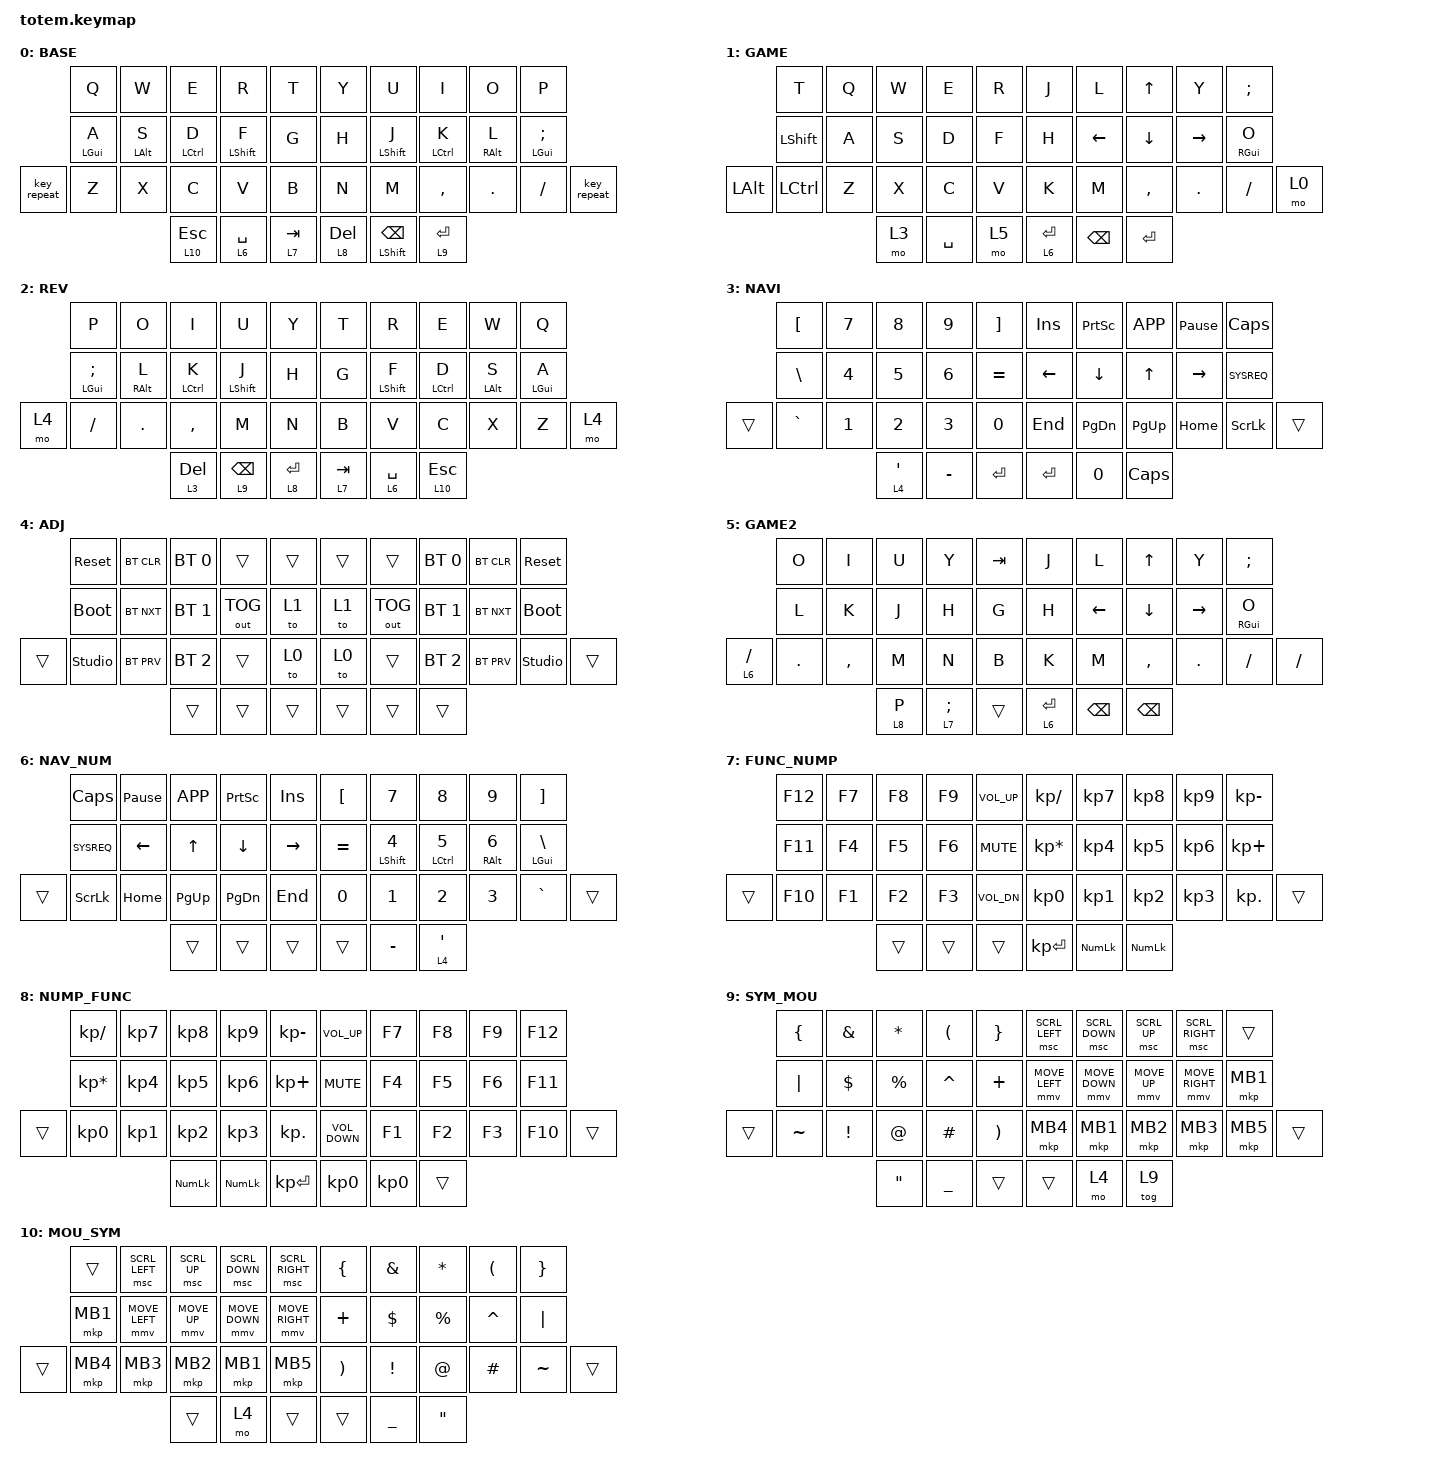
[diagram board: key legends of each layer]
//
//                                                        ▀▀▀▀▀     ▀▀▀▀▀          ▀▀█▀▀
//                                                        ▄▀▀▀▄  ▄  ▄▀▀▀▄  ▄  ▄▀▀▀▄  █  ▄▀▀▀▄
//                                                        █   █  █  █   █  █  █   █  █  █   █
//                                                         ▀▀▀   █   ▀▀▀   █   ▀▀▀   ▀   ▀▀▀
//                                                               █      ▄▄▄█▄▄▄    █   █  
//                                                               ▀      █  █  █     █▄█
//                                                             ▀▀▀▀▀    █  █  █      ▀
//                                                                      ▀  ▀  ▀
//
// ▄▄▄▄▄▄▄▄▄▄▄▄▄▄▄▄▄▄▄▄▄▄▄▄▄▄▄▄▄▄▄▄▄▄▄▄▄▄▄▄▄▄▄▄▄▄▄▄▄▄▄▄▄▄▄▄▄▄▄▄▄▄▄▄▄▄▄▄▄▄▄▄▄▄▄▄▄▄▄▄▄▄▄▄▄▄▄▄▄▄▄▄▄▄▄▄▄▄▄▄▄▄▄▄▄▄▄▄▄▄▄▄▄▄▄▄▄▄▄▄▄▄▄▄▄▄▄▄▄▄▄▄▄▄▄▄▄▄▄▄▄▄▄▄▄▄▄▄▄

#define ZMK_POINTING_DEFAULT_MOVE_VAL 2400  // default: 600
#define ZMK_POINTING_DEFAULT_SCRL_VAL 20    // default: 10

#include <behaviors.dtsi>
#include <dt-bindings/zmk/bt.h>
#include <dt-bindings/zmk/keys.h>
#include <dt-bindings/zmk/outputs.h>
#include <dt-bindings/zmk/pointing.h>

#define BASE 0
#define GAME 1
#define REV  2
#define NAVI 3
#define ADJ  4
#define GAM2 5
#define NUM  6
#define NUMP 7
#define FUNC 8

&mt {
    quick-tap-ms = <140>;
    global-quick-tap;
    flavor = "tap-preferred";
    tapping-term-ms = <170>;
};

/ {
    combos {
        compatible = "zmk,combos";

        //combo_esc {
        //    timeout-ms = <50>;
        //    key-positions = <0 1>;
        //    bindings = <&kp ESC>;
        //};

        combo_rshft {
            key-positions = <16 27>;
            bindings = <&sk RSHFT>;
            timeout-ms = <50>;
            layers = <0 2 3 4 6 7>;
        };

        combo_rctrl {
            key-positions = <17 28>;
            bindings = <&sk RCTRL>;
            timeout-ms = <50>;
            layers = <0 2 3 4 6 7>;
        };

        combo_ralt {
            key-positions = <18 29>;
            bindings = <&sk RALT>;
            timeout-ms = <50>;
            layers = <0 2 3 4 6 7>;
        };

        combo_rgui {
            key-positions = <19 30>;
            bindings = <&sk RGUI>;
            timeout-ms = <50>;
            layers = <0 2 3 4 6 7>;
        };

        combo_lshft {
            key-positions = <13 24>;
            bindings = <&sk LSHFT>;
            timeout-ms = <10>;
            layers = <0 2 3 4 6 7>;
        };

        combo_lctrl {
            key-positions = <12 23>;
            bindings = <&sk LCTRL>;
            timeout-ms = <10>;
            layers = <0 2 3 4 6 7>;
        };

        combo_lalt {
            key-positions = <11 22>;
            bindings = <&sk LALT>;
            timeout-ms = <10>;
            layers = <0 2 3 4 6 7>;
        };

        combo_lgui {
            key-positions = <10 21>;
            bindings = <&sk LGUI>;
            timeout-ms = <10>;
            layers = <0 2 3 4 6 7>;
        };

        //            combo_ldqt {
        //                key-positions = <11 12>;
        //                bindings = <&kp DQT>;
        //                timeout-ms = <25>;
        //                layers = <0 4 6 7>;
        //            };
        //            combo_rapos {
        //                key-positions = <17 18>;
        //                bindings = <&kp APOS>;
        //                timeout-ms = <25>;
        //                layers = <0 4 6 7>;
        //            };
        //            combo_rdqt {
        //                key-positions = <17 18>;
        //                bindings = <&kp DQT>;
        //		timeout-ms = <25>;
        //                layers = <2>;
        //            };
        //            combo_lapos {
        //                key-positions = <11 12>;
        //                bindings = <&kp APOS>;
        //                timeout-ms = <25>;
        //                layers = <2>;
        //            };
        //            combo_lunder {
        //                key-positions = <12 13>;
        //                bindings = <&kp UNDER>;
        //                timeout-ms = <25>;
        //                layers = <0 4 6 7>;
        //            };
        //            combo_rminus {
        //                key-positions = <16 17>;
        //                bindings = <&kp MINUS>;
        //                timeout-ms = <25>;
        //                layers = <0 4 6 7>;
        //            };
        //            combo_runder {
        //                key-positions = <16 17>;
        //                bindings = <&kp UNDER>;
        //		timeout-ms = <25>;
        //                layers = <2>;
        //            };
        //            combo_lminus {
        //                key-positions = <12 13>;
        //                bindings = <&kp MINUS>;
        //                timeout-ms = <25>;
        //                layers = <2>;
        //            };

        combo_lrbrc {
            key-positions = <1 2>;
            bindings = <&kp RBRC>;
            timeout-ms = <25>;
            layers = <2>;
        };

        combo_llbrc {
            key-positions = <1 2>;
            bindings = <&kp LBRC>;
            timeout-ms = <25>;
            layers = <0 4 6 7>;
        };

        combo_rlbrc {
            key-positions = <7 8>;
            bindings = <&kp LBRC>;
            timeout-ms = <25>;
            layers = <2>;
        };

        combo_rrbrc {
            key-positions = <7 8>;
            bindings = <&kp RBRC>;
            timeout-ms = <25>;
            layers = <0 4 6 7>;
        };

        combo_lrbkt {
            key-positions = <0 1>;
            bindings = <&kp RBKT>;
            timeout-ms = <25>;
            layers = <2>;
        };

        combo_llbkt {
            key-positions = <0 1>;
            bindings = <&kp LBKT>;
            timeout-ms = <25>;
            layers = <0 4 6 7>;
        };

        combo_rlbkt {
            key-positions = <8 9>;
            bindings = <&kp LBKT>;
            timeout-ms = <25>;
            layers = <2>;
        };

        combo_rrbkt {
            key-positions = <8 9>;
            bindings = <&kp RBKT>;
            timeout-ms = <25>;
            layers = <0 4 6 7>;
        };

        combo_lrpar {
            key-positions = <2 3>;
            bindings = <&kp RPAR>;
            timeout-ms = <25>;
            layers = <2>;
        };

        combo_llpar {
            key-positions = <2 3>;
            bindings = <&kp LPAR>;
            timeout-ms = <25>;
            layers = <0 4 6 7>;
        };

        combo_rlpar {
            key-positions = <6 7>;
            bindings = <&kp LPAR>;
            timeout-ms = <25>;
            layers = <2>;
        };

        combo_rrpar {
            key-positions = <6 7>;
            bindings = <&kp RPAR>;
            timeout-ms = <25>;
            layers = <0 4 6 7>;
        };

        combo_gam2esc {
            key-positions = <0 1>;
            bindings = <&kp ESC>;
            timeout-ms = <50>;
            layers = <5>;
        };

        combo_caps {
            key-positions = <22 23 24>;
            bindings = <&kp CAPS>;
            timeout-ms = <50>;
            layers = <0 4 6 7>;
        };

        combo_apos {
            key-positions = <27 28 29>;
            bindings = <&kp APOS>;
            timeout-ms = <50>;
            layers = <0 4 6 7>;
        };

        combo_capsrev {
            key-positions = <27 28 29>;
            bindings = <&kp CAPS>;
            timeout-ms = <50>;
            layers = <2>;
        };

        combo_aposrev {
            key-positions = <22 23 24>;
            bindings = <&kp APOS>;
            timeout-ms = <50>;
            layers = <2>;
        };

        combo_lfunclayer {
            key-positions = <33 34>;
            bindings = <&sl 9>;
            timeout-ms = <50>;
            layers = <0 2 3 4 6 7>;
        };

        combo_rfunclayer {
            key-positions = <35 36>;
            bindings = <&sl 9>;
            timeout-ms = <50>;
            layers = <0 1 2 3 4 6 7>;
        };

        combo_lrevlayer {
            key-positions = <32 33>;
            bindings = <&sl 2>;
            timeout-ms = <50>;
            layers = <0 3 4 6 7>;
        };

        combo_rrevlayer {
            key-positions = <36 37>;
            bindings = <&sl 2>;
            timeout-ms = <50>;
            layers = <0 3 4 6 7>;
        };

        game_b {
            bindings = <&kp B>;
            key-positions = <25 14>;
            timeout-ms = <5>;
            slow-release;
            layers = <1>;
        };

        game_g {
            bindings = <&kp G>;
            key-positions = <14 4>;
            timeout-ms = <5>;
            slow-release;
            layers = <1>;
        };

        //combo_gamealt {
        //    key-positions = <33 34>;
        //    bindings = <&kp LALT>;
        //    timeout-ms = <50>;
        //    layers = <1 5>;
        //};
    };

    macros {
        gif: gif {
            label = "giphy";
            compatible = "zmk,behavior-macro";
            #binding-cells = <0>;
            bindings =
                <&macro_press>,
                <&kp LSHFT>,
                <&macro_tap>,
                <&kp N2>,
                <&macro_release>,
                <&kp LSHFT>,
                <&macro_tap>,
                <&kp G &kp I &kp F>;
        };
    };

    behaviors {
        hp: hp {
            compatible = "zmk,behavior-hold-tap";
            label = "Hold-preferred";
            bindings = <&kp>, <&kp>;

            #binding-cells = <2>;
            tapping-term-ms = <150>;
        };

        tp: tp {
            compatible = "zmk,behavior-hold-tap";
            label = "Tap-preferred";
            bindings = <&kp>, <&kp>;

            #binding-cells = <2>;
            flavor = "tap-preferred";
            tapping-term-ms = <300>;
        };
    };

    keymap {
        compatible = "zmk,keymap";

        // ▄▄▄▄▄▄▄▄▄▄▄▄▄▄▄▄▄▄▄▄▄▄▄▄▄▄▄▄▄▄▄▄▄▄▄▄▄▄▄▄▄▄▄▄▄▄▄▄▄▄▄▄▄▄▄▄▄▄▄▄▄▄▄▄▄▄▄▄▄▄▄▄▄▄▄▄▄▄▄▄▄▄▄▄▄▄▄▄▄▄▄▄▄▄▄▄▄▄▄▄▄▄▄▄▄▄▄▄▄▄▄▄▄▄▄▄▄▄▄▄▄▄▄▄▄▄▄▄▄▄▄▄▄▄▄▄▄▄▄▄▄▄▄▄▄▄▄▄▄

        base_layer {
            // ┏━━━━━━━━━━━━━━━━━━━━━━━━━━━━━━━━━━━━━━━┓

            label = "BASE";

            // ┗━━━━━━━━━━━━━━━━━━━━━━━━━━━━━━━━━━━━━━━┛
            //             ┏━━━━━━━━━━━┳━━━━━━━━━━━┳━━━━━━━━━━━┳━━━━━━━━━━━┳━━━━━━━━━━━┓   ┏━━━━━━━━━━━┳━━━━━━━━━━━┳━━━━━━━━━━━┳━━━━━━━━━━━┳━━━━━━━━━━━┓
            //             ┃     Q     ┃     W     ┃     F     ┃     P     ┃     G     ┃   ┃     J     ┃     L     ┃     U     ┃     Y     ┃     ;     ┃
            //             ┣━━━━━━━━━━━╋━━━━━━━━━━━╋━━━━━━━━━━━╋━━━━━━━━━━━╋━━━━━━━━━━━┫   ┣━━━━━━━━━━━╋━━━━━━━━━━━╋━━━━━━━━━━━╋━━━━━━━━━━━╋━━━━━━━━━━━┫
            //             ┃     A     ┃     R     ┃     S     ┃     T     ┃     D     ┃   ┃     H     ┃     N     ┃     E     ┃     I     ┃     O     ┃
            // ┏━━━━━━━━━━━╋━━━━━━━━━━━╋━━━━━━━━━━━╋━━━━━━━━━━━╋━━━━━━━━━━━╋━━━━━━━━━━━┫   ┣━━━━━━━━━━━╋━━━━━━━━━━━╋━━━━━━━━━━━╋━━━━━━━━━━━╋━━━━━━━━━━━╋━━━━━━━━━━━┓
            // ┃           ┃     Z     ┃     X     ┃     C     ┃     V     ┃     B     ┃   ┃     K     ┃     M     ┃     ,     ┃     .     ┃     /     ┃           ┃
            // ┗━━━━━━━━━━━┻━━━━━━━━━━━┻━━━━━━━━━━━╋━━━━━━━━━━━╋━━━━━━━━━━━╋━━━━━━━━━━━┫   ┣━━━━━━━━━━━╋━━━━━━━━━━━╋━━━━━━━━━━━╋━━━━━━━━━━━┻━━━━━━━━━━━┻━━━━━━━━━━━┛
            //                                     ┃           ┃    TAB    ┃    SPC    ┃   ┃   ENTER   ┃   BSPC    ┃           ┃
            //                                     ┗━━━━━━━━━━━┻━━━━━━━━━━━┻━━━━━━━━━━━┛   ┗━━━━━━━━━━━┻━━━━━━━━━━━┻━━━━━━━━━━━┛

            bindings = <
             &kp Q       &kp W       &kp E        &kp R        &kp T        &kp Y      &kp U                     &kp I        &kp O       &kp P
             &tp LGUI A  &tp LALT S  &tp LCTRL D  &tp LSHFT F  &kp G        &kp H      &mt LSHFT J               &mt LCTRL K  &mt RALT L  &mt LGUI SEMI
&key_repeat  &kp Z       &kp X       &kp C        &kp V        &kp B        &kp N      &kp M                     &kp COMMA    &kp DOT     &kp FSLH       &key_repeat
                                     &lt 10 ESC   &lt 6 SPACE  &lt 7 TAB    &lt 8 DEL  &hp LEFT_SHIFT BACKSPACE  &lt 9 RET
            >;
        };

        game {
            // ┏━━━━━━━━━━━━━━━━━━━━━━━━━━━━━━━━━━━━━━━┓

            label = "GAME";

            // ┗━━━━━━━━━━━━━━━━━━━━━━━━━━━━━━━━━━━━━━━┛
            //             ┏━━━━━━━━━━━┳━━━━━━━━━━━┳━━━━━━━━━━━┳━━━━━━━━━━━┳━━━━━━━━━━━┓   ┏━━━━━━━━━━━┳━━━━━━━━━━━┳━━━━━━━━━━━┳━━━━━━━━━━━┳━━━━━━━━━━━┓
            //             ┃    TAB    ┃     q     ┃     w     ┃     e     ┃     r     ┃   ┃     t     ┃     y     ┃     u     ┃     i     ┃     o     ┃
            //             ┣━━━━━━━━━━━╋━━━━━━━━━━━╋━━━━━━━━━━━╋━━━━━━━━━━━╋━━━━━━━━━━━┫   ┣━━━━━━━━━━━╋━━━━━━━━━━━╋━━━━━━━━━━━╋━━━━━━━━━━━╋━━━━━━━━━━━┫
            //             ┃   LCTRL   ┃     a     ┃     S     ┃     d     ┃     f     ┃   ┃     g     ┃     h     ┃     n     ┃     k     ┃     l     ┃
            // ┏━━━━━━━━━━━╋━━━━━━━━━━━╋━━━━━━━━━━━╋━━━━━━━━━━━╋━━━━━━━━━━━╋━━━━━━━━━━━┫   ┣━━━━━━━━━━━╋━━━━━━━━━━━╋━━━━━━━━━━━╋━━━━━━━━━━━╋━━━━━━━━━━━╋━━━━━━━━━━━┓
            // ┃    ALT    ┃   SHIFT   ┃     z     ┃     x     ┃     c     ┃     v     ┃   ┃     b     ┃     n     ┃     m     ┃     ,     ┃     .     ┃      /    ┃
            // ┗━━━━━━━━━━━┻━━━━━━━━━━━┻━━━━━━━━━━━╋━━━━━━━━━━━╋━━━━━━━━━━━╋━━━━━━━━━━━┫   ┣━━━━━━━━━━━╋━━━━━━━━━━━╋━━━━━━━━━━━╋━━━━━━━━━━━┻━━━━━━━━━━━┻━━━━━━━━━━━┛
            //                                     ┃           ┃    SPC    ┃    SPC    ┃   ┃   ENTER   ┃   BSPC    ┃   ENTER   ┃
            //                                     ┗━━━━━━━━━━━┻━━━━━━━━━━━┻━━━━━━━━━━━┛   ┗━━━━━━━━━━━┻━━━━━━━━━━━┻━━━━━━━━━━━┛

            bindings = <
          &kp T      &kp Q  &kp W  &kp E      &kp R    &kp J      &kp L     &kp UP     &kp Y      &kp SEMI
          &kp LSHFT  &kp A  &kp S  &kp D      &kp F    &kp H      &kp LEFT  &kp DOWN   &kp RIGHT  &mt RGUI O
&kp LALT  &kp LCTRL  &kp Z  &kp X  &kp C      &kp V    &kp K      &kp M     &kp COMMA  &kp DOT    &kp FSLH    &mo 0
                            &mo 3  &kp SPACE  &mo 5    &lt 6 RET  &kp BSPC  &kp ENTER
            >;
        };

        reverse {
            // ┏━━━━━━━━━━━━━━━━━━━━━━━━━━━━━━━━━━━━━━━┓

            label = "REV";

            // ┗━━━━━━━━━━━━━━━━━━━━━━━━━━━━━━━━━━━━━━━┛
            //             ┏━━━━━━━━━━━┳━━━━━━━━━━━┳━━━━━━━━━━━┳━━━━━━━━━━━┳━━━━━━━━━━━┓   ┏━━━━━━━━━━━┳━━━━━━━━━━━┳━━━━━━━━━━━┳━━━━━━━━━━━┳━━━━━━━━━━━┓
            //             ┃    p      ┃     o     ┃     i      ┃     u    ┃      y        ┃     t     ┃     r     ┃     e     ┃     w     ┃     q     ┃
            //             ┣━━━━━━━━━━━╋━━━━━━━━━━━╋━━━━━━━━━━━╋━━━━━━━━━━━╋━━━━━━━━━━━┫   ┣━━━━━━━━━━━╋━━━━━━━━━━━╋━━━━━━━━━━━╋━━━━━━━━━━━╋━━━━━━━━━━━┫
            //             ┃   ;       ┃     l     ┃     k     ┃     j     ┃     h     ┃   ┃     g     ┃     f     ┃     d     ┃     s     ┃     a     ┃
            // ┏━━━━━━━━━━━╋━━━━━━━━━━━╋━━━━━━━━━━━╋━━━━━━━━━━━╋━━━━━━━━━━━╋━━━━━━━━━━━┫   ┣━━━━━━━━━━━╋━━━━━━━━━━━╋━━━━━━━━━━━╋━━━━━━━━━━━╋━━━━━━━━━━━╋━━━━━━━━━━━┓
            // ┃    ALT    ┃   /       ┃     .     ┃     ,     ┃     m     ┃     n     ┃   ┃     b     ┃     v     ┃     c     ┃     x     ┃     z     ┃      /    ┃
            // ┗━━━━━━━━━━━┻━━━━━━━━━━━┻━━━━━━━━━━━╋━━━━━━━━━━━╋━━━━━━━━━━━╋━━━━━━━━━━━┫   ┣━━━━━━━━━━━╋━━━━━━━━━━━╋━━━━━━━━━━━╋━━━━━━━━━━━┻━━━━━━━━━━━┻━━━━━━━━━━━┛
            //                                     ┃           ┃    SPC    ┃    SPC    ┃   ┃   ENTER   ┃   BSPC    ┃   ENTER   ┃
            //                                     ┗━━━━━━━━━━━┻━━━━━━━━━━━┻━━━━━━━━━━━┛   ┗━━━━━━━━━━━┻━━━━━━━━━━━┻━━━━━━━━━━━┛

            bindings = <
       &kp P          &kp O       &kp I        &kp U            &kp Y        &kp T      &kp R        &kp E        &kp W       &kp Q
       &mt LGUI SEMI  &mt RALT L  &mt LCTRL K  &mt LSHFT J      &kp H        &kp G      &mt LSHFT F  &mt LCTRL D  &mt LALT S  &mt LGUI A
&mo 4  &kp FSLH       &kp DOT     &kp COMMA    &kp M            &kp N        &kp B      &kp V        &kp C        &kp X       &kp Z       &mo 4
                                  &lt 3 DEL    &lt 9 BACKSPACE  &lt 8 RET    &lt 7 TAB  &lt 6 SPACE  &lt 10 ESC
            >;
        };

        num_nav {
            // ┏━━━━━━━━━━━━━━━━━━━━━━━━━━━━━━━━━━━━━━━┓

            label = "NAVI";

            // ┗━━━━━━━━━━━━━━━━━━━━━━━━━━━━━━━━━━━━━━━┛
            //             ┏━━━━━━━━━━━┳━━━━━━━━━━━┳━━━━━━━━━━━┳━━━━━━━━━━━┳━━━━━━━━━━━┓   ┏━━━━━━━━━━━┳━━━━━━━━━━━┳━━━━━━━━━━━┳━━━━━━━━━━━┳━━━━━━━━━━━┓
            //             ┃           ┃           ┃     UP    ┃           ┃     {     ┃   ┃     }     ┃     7     ┃     8     ┃     9     ┃     +     ┃
            //             ┣━━━━━━━━━━━╋━━━━━━━━━━━╋━━━━━━━━━━━╋━━━━━━━━━━━╋━━━━━━━━━━━┫   ┣━━━━━━━━━━━╋━━━━━━━━━━━╋━━━━━━━━━━━╋━━━━━━━━━━━╋━━━━━━━━━━━┫
            //             ┃   SHIFT   ┃   LEFT    ┃    DOWN   ┃   RIGHT   ┃     [     ┃   ┃     ]     ┃     4     ┃     5     ┃     6     ┃     -     ┃
            // ┏━━━━━━━━━━━╋━━━━━━━━━━━╋━━━━━━━━━━━╋━━━━━━━━━━━╋━━━━━━━━━━━╋━━━━━━━━━━━┫   ┣━━━━━━━━━━━╋━━━━━━━━━━━╋━━━━━━━━━━━╋━━━━━━━━━━━╋━━━━━━━━━━━╋━━━━━━━━━━━┓
            // ┃           ┃           ┃   P UP    ┃  C LOCK   ┃  P DOWN   ┃     (     ┃   ┃     )     ┃     1     ┃     2     ┃     3     ┃     *     ┃           ┃
            // ┗━━━━━━━━━━━┻━━━━━━━━━━━┻━━━━━━━━━━━╋━━━━━━━━━━━╋━━━━━━━━━━━╋━━━━━━━━━━━┫   ┣━━━━━━━━━━━╋━━━━━━━━━━━╋━━━━━━━━━━━╋━━━━━━━━━━━┻━━━━━━━━━━━┻━━━━━━━━━━━┛
            //                                     ┃           ┃    TAB    ┃    SPC    ┃   ┃    DEL    ┃     0     ┃           ┃
            //                                     ┗━━━━━━━━━━━┻━━━━━━━━━━━┻━━━━━━━━━━━┛   ┗━━━━━━━━━━━┻━━━━━━━━━━━┻━━━━━━━━━━━┛

            bindings = <
        &kp LBKT   &kp N7  &kp N8              &kp N9     &kp RBKT        &kp INSERT  &kp PRINTSCREEN  &kp K_APP  &kp PAUSE_BREAK  &kp CAPSLOCK
        &kp BSLH   &kp N4  &kp N5              &kp N6     &kp EQUAL       &kp LEFT    &kp DOWN         &kp UP     &kp RIGHT        &kp SYSREQ
&trans  &kp GRAVE  &kp N1  &kp N2              &kp N3     &kp NUMBER_0    &kp END     &kp PG_DN        &kp PG_UP  &kp HOME         &kp SCROLLLOCK  &trans
                           &lt 4 SINGLE_QUOTE  &kp MINUS  &kp RET         &kp RET     &kp N0           &kp CAPS
            >;
        };

        adjust_system {
            // ┏━━━━━━━━━━━━━━━━━━━━━━━━━━━━━━━━━━━━━━━┓

            label = "ADJ";

            // ┗━━━━━━━━━━━━━━━━━━━━━━━━━━━━━━━━━━━━━━━┛
            //             ┏━━━━━━━━━━━┳━━━━━━━━━━━┳━━━━━━━━━━━┳━━━━━━━━━━━┳━━━━━━━━━━━┓   ┏━━━━━━━━━━━┳━━━━━━━━━━━┳━━━━━━━━━━━┳━━━━━━━━━━━┳━━━━━━━━━━━┓
            //             ┃   RESET   ┃ BT CLEAR  ┃  OUT TOG  ┃           ┃           ┃   ┃           ┃    F7     ┃    F8     ┃    F9     ┃    F12    ┃
            //             ┣━━━━━━━━━━━╋━━━━━━━━━━━╋━━━━━━━━━━━╋━━━━━━━━━━━╋━━━━━━━━━━━┫   ┣━━━━━━━━━━━╋━━━━━━━━━━━╋━━━━━━━━━━━╋━━━━━━━━━━━╋━━━━━━━━━━━┫
            //             ┃ BOOTLOAD  ┃ BT NEXT   ┃           ┃           ┃           ┃   ┃           ┃    F4     ┃    F5     ┃    F6     ┃    F11    ┃
            // ┏━━━━━━━━━━━╋━━━━━━━━━━━╋━━━━━━━━━━━╋━━━━━━━━━━━╋━━━━━━━━━━━╋━━━━━━━━━━━┫   ┣━━━━━━━━━━━╋━━━━━━━━━━━╋━━━━━━━━━━━╋━━━━━━━━━━━╋━━━━━━━━━━━╋━━━━━━━━━━━┓
            // ┃           ┃           ┃ BT PREV   ┃           ┃           ┃           ┃   ┃           ┃    F1     ┃    F2     ┃    F3     ┃    F10    ┃           ┃
            // ┗━━━━━━━━━━━┻━━━━━━━━━━━┻━━━━━━━━━━━╋━━━━━━━━━━━╋━━━━━━━━━━━╋━━━━━━━━━━━┫   ┣━━━━━━━━━━━╋━━━━━━━━━━━╋━━━━━━━━━━━╋━━━━━━━━━━━┻━━━━━━━━━━━┻━━━━━━━━━━━┛
            //                                     ┃           ┃           ┃           ┃   ┃           ┃           ┃           ┃
            //                                     ┗━━━━━━━━━━━┻━━━━━━━━━━━┻━━━━━━━━━━━┛   ┗━━━━━━━━━━━┻━━━━━━━━━━━┻━━━━━━━━━━━┛

            bindings = <
        &sys_reset      &bt BT_CLR  &bt BT_SEL 0  &trans        &trans    &trans  &trans        &bt BT_SEL 0  &bt BT_CLR  &sys_reset
        &bootloader     &bt BT_NXT  &bt BT_SEL 1  &out OUT_TOG  &to 1     &to 1   &out OUT_TOG  &bt BT_SEL 1  &bt BT_NXT  &bootloader
&trans  &studio_unlock  &bt BT_PRV  &bt BT_SEL 2  &trans        &to 0     &to 0   &trans        &bt BT_SEL 2  &bt BT_PRV  &studio_unlock  &trans
                                    &trans        &trans        &trans    &trans  &trans        &trans
            >;
        };

        game+ {
            // ┏━━━━━━━━━━━━━━━━━━━━━━━━━━━━━━━━━━━━━━━┓

            label = "GAME2";

            // ┗━━━━━━━━━━━━━━━━━━━━━━━━━━━━━━━━━━━━━━━┛
            //             ┏━━━━━━━━━━━┳━━━━━━━━━━━┳━━━━━━━━━━━┳━━━━━━━━━━━┳━━━━━━━━━━━┓   ┏━━━━━━━━━━━┳━━━━━━━━━━━┳━━━━━━━━━━━┳━━━━━━━━━━━┳━━━━━━━━━━━┓
            //             ┃     o     ┃     i     ┃     u     ┃     y     ┃     t     ┃   ┃     t     ┃     y     ┃     u     ┃     i     ┃     o     ┃
            //             ┣━━━━━━━━━━━╋━━━━━━━━━━━╋━━━━━━━━━━━╋━━━━━━━━━━━╋━━━━━━━━━━━┫   ┣━━━━━━━━━━━╋━━━━━━━━━━━╋━━━━━━━━━━━╋━━━━━━━━━━━╋━━━━━━━━━━━┫
            //             ┃     l     ┃     k     ┃     j     ┃     h     ┃     g     ┃   ┃     g     ┃     h     ┃     n     ┃     k     ┃     l     ┃
            // ┏━━━━━━━━━━━╋━━━━━━━━━━━╋━━━━━━━━━━━╋━━━━━━━━━━━╋━━━━━━━━━━━╋━━━━━━━━━━━┫   ┣━━━━━━━━━━━╋━━━━━━━━━━━╋━━━━━━━━━━━╋━━━━━━━━━━━╋━━━━━━━━━━━╋━━━━━━━━━━━┓
            // ┃      /    ┃    .      ┃     ,     ┃     m     ┃     n     ┃     b     ┃   ┃     b     ┃     n     ┃     m     ┃     ,     ┃     .     ┃      /    ┃
            // ┗━━━━━━━━━━━┻━━━━━━━━━━━┻━━━━━━━━━━━╋━━━━━━━━━━━╋━━━━━━━━━━━╋━━━━━━━━━━━┫   ┣━━━━━━━━━━━╋━━━━━━━━━━━╋━━━━━━━━━━━╋━━━━━━━━━━━┻━━━━━━━━━━━┻━━━━━━━━━━━┛
            //                                     ┃     p     ┃    ;      ┃           ┃   ┃   ENTER   ┃   BSPC    ┃   ENTER   ┃
            //                                     ┗━━━━━━━━━━━┻━━━━━━━━━━━┻━━━━━━━━━━━┛   ┗━━━━━━━━━━━┻━━━━━━━━━━━┻━━━━━━━━━━━┛

            bindings = <
             &kp O    &kp I      &kp U    &kp Y       &kp TAB    &kp J      &kp L     &kp UP_ARROW  &kp Y      &kp SEMI
             &kp L    &kp K      &kp J    &kp H       &kp G      &kp H      &kp LEFT  &kp DOWN      &kp RIGHT  &mt RGUI O
&lt 6 SLASH  &kp DOT  &kp COMMA  &kp M    &kp N       &kp B      &kp K      &kp M     &kp COMMA     &kp DOT    &kp FSLH    &kp FSLH
                                 &lt 8 P  &lt 7 SEMI  &trans     &lt 6 RET  &kp BSPC  &kp BSPC
            >;
        };

        nav_num {
            // ┏━━━━━━━━━━━━━━━━━━━━━━━━━━━━━━━━━━━━━━━┓

            label = "NAV_NUM";

            // ┗━━━━━━━━━━━━━━━━━━━━━━━━━━━━━━━━━━━━━━━┛
            //             ┏━━━━━━━━━━━┳━━━━━━━━━━━┳━━━━━━━━━━━┳━━━━━━━━━━━┳━━━━━━━━━━━┓   ┏━━━━━━━━━━━┳━━━━━━━━━━━┳━━━━━━━━━━━┳━━━━━━━━━━━┳━━━━━━━━━━━┓
            //             ┃           ┃           ┃     UP    ┃           ┃     {     ┃   ┃     }     ┃     7     ┃     8     ┃     9     ┃     +     ┃
            //             ┣━━━━━━━━━━━╋━━━━━━━━━━━╋━━━━━━━━━━━╋━━━━━━━━━━━╋━━━━━━━━━━━┫   ┣━━━━━━━━━━━╋━━━━━━━━━━━╋━━━━━━━━━━━╋━━━━━━━━━━━╋━━━━━━━━━━━┫
            //             ┃   SHIFT   ┃   LEFT    ┃    DOWN   ┃   RIGHT   ┃     [     ┃   ┃     ]     ┃     4     ┃     5     ┃     6     ┃     -     ┃
            // ┏━━━━━━━━━━━╋━━━━━━━━━━━╋━━━━━━━━━━━╋━━━━━━━━━━━╋━━━━━━━━━━━╋━━━━━━━━━━━┫   ┣━━━━━━━━━━━╋━━━━━━━━━━━╋━━━━━━━━━━━╋━━━━━━━━━━━╋━━━━━━━━━━━╋━━━━━━━━━━━┓
            // ┃           ┃           ┃   P UP    ┃  C LOCK   ┃  P DOWN   ┃     (     ┃   ┃     )     ┃     1     ┃     2     ┃     3     ┃     *     ┃           ┃
            // ┗━━━━━━━━━━━┻━━━━━━━━━━━┻━━━━━━━━━━━╋━━━━━━━━━━━╋━━━━━━━━━━━╋━━━━━━━━━━━┫   ┣━━━━━━━━━━━╋━━━━━━━━━━━╋━━━━━━━━━━━╋━━━━━━━━━━━┻━━━━━━━━━━━┻━━━━━━━━━━━┛
            //                                     ┃           ┃    TAB    ┃    SPC    ┃   ┃    DEL    ┃     0     ┃           ┃
            //                                     ┗━━━━━━━━━━━┻━━━━━━━━━━━┻━━━━━━━━━━━┛   ┗━━━━━━━━━━━┻━━━━━━━━━━━┻━━━━━━━━━━━┛

            bindings = <
        &kp CAPS        &kp PAUSE_BREAK  &kp K_APP  &kp PRINTSCREEN  &kp INSERT    &kp LBKT      &kp N7        &kp N8              &kp N9       &kp RBKT
        &kp SYSREQ      &kp LEFT         &kp UP     &kp DOWN         &kp RIGHT     &kp EQUAL     &mt LSHFT N4  &mt LCTRL N5        &mt RALT N6  &mt LGUI BSLH
&trans  &kp SCROLLLOCK  &kp HOME         &kp PG_UP  &kp PAGE_DOWN    &kp END       &kp NUMBER_0  &kp N1        &kp N2              &kp N3       &kp GRAVE      &trans
                                         &trans     &trans           &trans        &trans        &kp MINUS     &lt 4 SINGLE_QUOTE
            >;
        };

        function_numpad {
            // ┏━━━━━━━━━━━━━━━━━━━━━━━━━━━━━━━━━━━━━━━┓

            label = "FUNC_NUMP";

            // ┗━━━━━━━━━━━━━━━━━━━━━━━━━━━━━━━━━━━━━━━┛
            //             ┏━━━━━━━━━━━┳━━━━━━━━━━━┳━━━━━━━━━━━┳━━━━━━━━━━━┳━━━━━━━━━━━┓   ┏━━━━━━━━━━━┳━━━━━━━━━━━┳━━━━━━━━━━━┳━━━━━━━━━━━┳━━━━━━━━━━━┓
            //             ┃   RESET   ┃ BT CLEAR  ┃  OUT TOG  ┃           ┃           ┃   ┃           ┃    F7     ┃    F8     ┃    F9     ┃    F12    ┃
            //             ┣━━━━━━━━━━━╋━━━━━━━━━━━╋━━━━━━━━━━━╋━━━━━━━━━━━╋━━━━━━━━━━━┫   ┣━━━━━━━━━━━╋━━━━━━━━━━━╋━━━━━━━━━━━╋━━━━━━━━━━━╋━━━━━━━━━━━┫
            //             ┃ BOOTLOAD  ┃ BT NEXT   ┃           ┃           ┃           ┃   ┃           ┃    F4     ┃    F5     ┃    F6     ┃    F11    ┃
            // ┏━━━━━━━━━━━╋━━━━━━━━━━━╋━━━━━━━━━━━╋━━━━━━━━━━━╋━━━━━━━━━━━╋━━━━━━━━━━━┫   ┣━━━━━━━━━━━╋━━━━━━━━━━━╋━━━━━━━━━━━╋━━━━━━━━━━━╋━━━━━━━━━━━╋━━━━━━━━━━━┓
            // ┃           ┃           ┃ BT PREV   ┃           ┃           ┃           ┃   ┃           ┃    F1     ┃    F2     ┃    F3     ┃    F10    ┃           ┃
            // ┗━━━━━━━━━━━┻━━━━━━━━━━━┻━━━━━━━━━━━╋━━━━━━━━━━━╋━━━━━━━━━━━╋━━━━━━━━━━━┫   ┣━━━━━━━━━━━╋━━━━━━━━━━━╋━━━━━━━━━━━╋━━━━━━━━━━━┻━━━━━━━━━━━┻━━━━━━━━━━━┛
            //                                     ┃           ┃           ┃           ┃   ┃           ┃           ┃           ┃
            //                                     ┗━━━━━━━━━━━┻━━━━━━━━━━━┻━━━━━━━━━━━┛   ┗━━━━━━━━━━━┻━━━━━━━━━━━┻━━━━━━━━━━━┛

            bindings = <
        &kp F12  &kp F7  &kp F8  &kp F9  &kp C_VOL_UP    &kp KP_SLASH     &kp KP_N7        &kp KP_N8        &kp KP_NUMBER_9  &kp KP_MINUS
        &kp F11  &kp F4  &kp F5  &kp F6  &kp K_MUTE      &kp KP_MULTIPLY  &kp KP_NUMBER_4  &kp KP_NUMBER_5  &kp KP_NUMBER_6  &kp KP_PLUS
&trans  &kp F10  &kp F1  &kp F2  &kp F3  &kp C_VOL_DN    &kp KP_N0        &kp KP_NUMBER_1  &kp KP_NUMBER_2  &kp KP_NUMBER_3  &kp KP_DOT    &trans
                         &trans  &trans  &trans          &kp KP_ENTER     &kp KP_NUMLOCK   &kp KP_NUMLOCK
            >;
        };

        numpad_function {
            // ┏━━━━━━━━━━━━━━━━━━━━━━━━━━━━━━━━━━━━━━━┓

            label = "NUMP_FUNC";

            // ┗━━━━━━━━━━━━━━━━━━━━━━━━━━━━━━━━━━━━━━━┛
            //             ┏━━━━━━━━━━━┳━━━━━━━━━━━┳━━━━━━━━━━━┳━━━━━━━━━━━┳━━━━━━━━━━━┓   ┏━━━━━━━━━━━┳━━━━━━━━━━━┳━━━━━━━━━━━┳━━━━━━━━━━━┳━━━━━━━━━━━┓
            //             ┃           ┃           ┃     UP    ┃           ┃     {     ┃   ┃     }     ┃     7     ┃     8     ┃     9     ┃     +     ┃
            //             ┣━━━━━━━━━━━╋━━━━━━━━━━━╋━━━━━━━━━━━╋━━━━━━━━━━━╋━━━━━━━━━━━┫   ┣━━━━━━━━━━━╋━━━━━━━━━━━╋━━━━━━━━━━━╋━━━━━━━━━━━╋━━━━━━━━━━━┫
            //             ┃   SHIFT   ┃   LEFT    ┃    DOWN   ┃   RIGHT   ┃     [     ┃   ┃     ]     ┃     4     ┃     5     ┃     6     ┃     -     ┃
            // ┏━━━━━━━━━━━╋━━━━━━━━━━━╋━━━━━━━━━━━╋━━━━━━━━━━━╋━━━━━━━━━━━╋━━━━━━━━━━━┫   ┣━━━━━━━━━━━╋━━━━━━━━━━━╋━━━━━━━━━━━╋━━━━━━━━━━━╋━━━━━━━━━━━╋━━━━━━━━━━━┓
            // ┃           ┃           ┃   P UP    ┃  C LOCK   ┃  P DOWN   ┃     (     ┃   ┃     )     ┃     1     ┃     2     ┃     3     ┃     *     ┃           ┃
            // ┗━━━━━━━━━━━┻━━━━━━━━━━━┻━━━━━━━━━━━╋━━━━━━━━━━━╋━━━━━━━━━━━╋━━━━━━━━━━━┫   ┣━━━━━━━━━━━╋━━━━━━━━━━━╋━━━━━━━━━━━╋━━━━━━━━━━━┻━━━━━━━━━━━┻━━━━━━━━━━━┛
            //                                     ┃           ┃    TAB    ┃    SPC    ┃   ┃    DEL    ┃     0     ┃           ┃
            //                                     ┗━━━━━━━━━━━┻━━━━━━━━━━━┻━━━━━━━━━━━┛   ┗━━━━━━━━━━━┻━━━━━━━━━━━┻━━━━━━━━━━━┛

            bindings = <
        &kp KP_DIVIDE    &kp KP_NUMBER_7  &kp KP_NUMBER_8  &kp KP_NUMBER_9  &kp KP_MINUS    &kp C_VOL_UP       &kp F7           &kp F8  &kp F9  &kp F12
        &kp KP_MULTIPLY  &kp KP_NUMBER_4  &kp KP_NUMBER_5  &kp KP_NUMBER_6  &kp KP_PLUS     &kp K_MUTE         &kp F4           &kp F5  &kp F6  &kp F11
&trans  &kp KP_NUMBER_0  &kp KP_NUMBER_1  &kp KP_NUMBER_2  &kp KP_NUMBER_3  &kp KP_DOT      &kp C_VOLUME_DOWN  &kp F1           &kp F2  &kp F3  &kp F10  &trans
                                          &kp KP_NUMLOCK   &kp KP_NUMLOCK   &kp KP_ENTER    &kp KP_NUMBER_0    &kp KP_NUMBER_0  &trans
            >;
        };

        sym_mouse {
            bindings = <
        &kp LEFT_BRACE  &kp AMPERSAND    &kp ASTRK          &kp LEFT_PARENTHESIS  &kp RIGHT_BRACE          &msc SCRL_LEFT  &msc SCRL_DOWN  &msc SCRL_UP  &msc SCRL_RIGHT  &trans
        &kp PIPE        &kp DOLLAR       &kp PERCENT        &kp CARET             &kp PLUS                 &mmv MOVE_LEFT  &mmv MOVE_DOWN  &mmv MOVE_UP  &mmv MOVE_RIGHT  &mkp MB1
&trans  &kp TILDE       &kp EXCLAMATION  &kp AT_SIGN        &kp POUND             &kp RIGHT_PARENTHESIS    &mkp MB4        &mkp MB1        &mkp MB2      &mkp MB3         &mkp MB5  &trans
                                         &kp DOUBLE_QUOTES  &kp UNDERSCORE        &trans                   &trans          &mo 4           &tog 9
            >;

            label = "SYM_MOU";
        };

        mouse_sym {
            bindings = <
        &trans    &msc SCRL_LEFT  &msc SCRL_UP  &msc SCRL_DOWN  &msc SCRL_RIGHT    &kp LEFT_BRACE         &kp AMPERSAND    &kp ASTERISK       &kp LEFT_PARENTHESIS  &kp RIGHT_BRACE
        &mkp MB1  &mmv MOVE_LEFT  &mmv MOVE_UP  &mmv MOVE_DOWN  &mmv MOVE_RIGHT    &kp PLUS               &kp DOLLAR       &kp PERCENT        &kp CARET             &kp PIPE
&trans  &mkp MB4  &mkp MB3        &mkp MB2      &mkp MB1        &mkp MB5           &kp RIGHT_PARENTHESIS  &kp EXCLAMATION  &kp AT_SIGN        &kp POUND             &kp TILDE        &trans
                                  &trans        &mo 4           &trans             &trans                 &kp UNDERSCORE   &kp DOUBLE_QUOTES
            >;

            label = "MOU_SYM";
        };
    };
};
